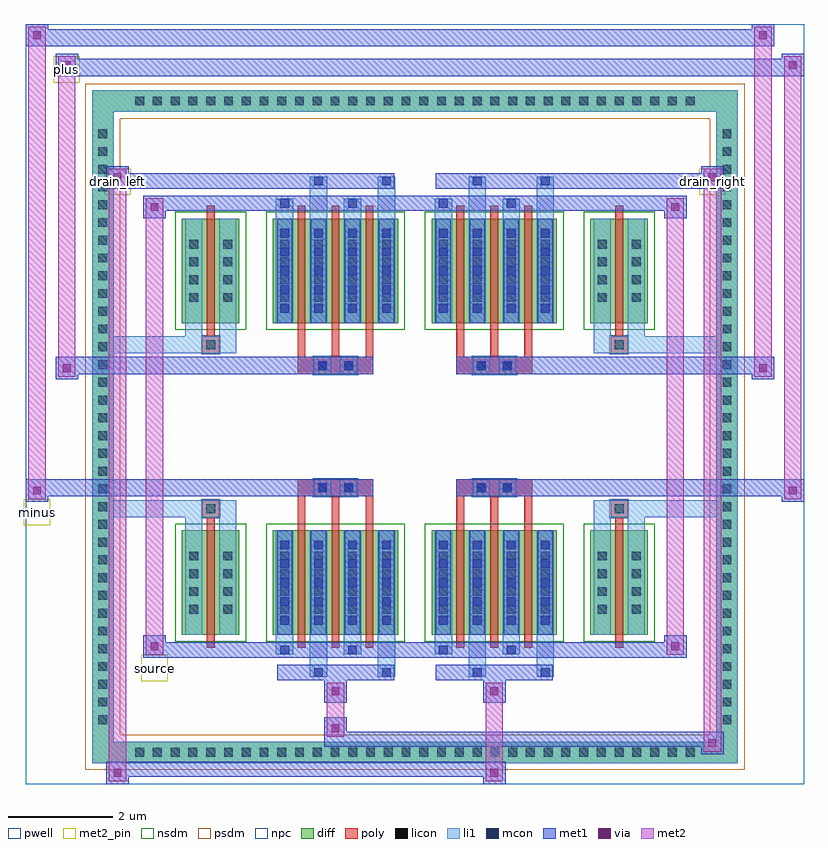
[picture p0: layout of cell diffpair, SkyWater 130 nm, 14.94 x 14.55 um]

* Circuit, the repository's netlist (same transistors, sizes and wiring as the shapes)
* NGSPICE file created from diffpair.ext - technology: sky130A

.subckt diffpair minus drain_right drain_left source plus
X0 drain_right minus source a_n1236_n1288# sky130_fd_pr__nfet_01v8 ad=0.95 pd=4.95 as=0.5 ps=2.5 w=2 l=0.15
X1 a_n1236_n1288# a_n1236_n1288# a_n1236_n1288# a_n1236_n1288# sky130_fd_pr__nfet_01v8 ad=0.95 pd=4.95 as=7.6 ps=39.6 w=2 l=0.15
X2 drain_left plus source a_n1236_n1288# sky130_fd_pr__nfet_01v8 ad=0.95 pd=4.95 as=0.5 ps=2.5 w=2 l=0.15
X3 a_n1236_n1288# a_n1236_n1288# a_n1236_n1288# a_n1236_n1288# sky130_fd_pr__nfet_01v8 ad=0.95 pd=4.95 as=0 ps=0 w=2 l=0.15
X4 source minus drain_right a_n1236_n1288# sky130_fd_pr__nfet_01v8 ad=0.5 pd=2.5 as=0.5 ps=2.5 w=2 l=0.15
X5 drain_right minus source a_n1236_n1288# sky130_fd_pr__nfet_01v8 ad=0.5 pd=2.5 as=0.95 ps=4.95 w=2 l=0.15
X6 a_n1236_n1288# a_n1236_n1288# a_n1236_n1288# a_n1236_n1288# sky130_fd_pr__nfet_01v8 ad=0.95 pd=4.95 as=0 ps=0 w=2 l=0.15
X7 drain_right minus source a_n1236_n1288# sky130_fd_pr__nfet_01v8 ad=0.5 pd=2.5 as=0.95 ps=4.95 w=2 l=0.15
X8 source minus drain_right a_n1236_n1288# sky130_fd_pr__nfet_01v8 ad=0.5 pd=2.5 as=0.5 ps=2.5 w=2 l=0.15
X9 source plus drain_left a_n1236_n1288# sky130_fd_pr__nfet_01v8 ad=0.5 pd=2.5 as=0.5 ps=2.5 w=2 l=0.15
X10 drain_left plus source a_n1236_n1288# sky130_fd_pr__nfet_01v8 ad=0.95 pd=4.95 as=0.5 ps=2.5 w=2 l=0.15
X11 drain_right minus source a_n1236_n1288# sky130_fd_pr__nfet_01v8 ad=0.95 pd=4.95 as=0.5 ps=2.5 w=2 l=0.15
X12 drain_left plus source a_n1236_n1288# sky130_fd_pr__nfet_01v8 ad=0.5 pd=2.5 as=0.95 ps=4.95 w=2 l=0.15
X13 drain_left plus source a_n1236_n1288# sky130_fd_pr__nfet_01v8 ad=0.5 pd=2.5 as=0.95 ps=4.95 w=2 l=0.15
X14 a_n1236_n1288# a_n1236_n1288# a_n1236_n1288# a_n1236_n1288# sky130_fd_pr__nfet_01v8 ad=0.95 pd=4.95 as=0 ps=0 w=2 l=0.15
X15 source plus drain_left a_n1236_n1288# sky130_fd_pr__nfet_01v8 ad=0.5 pd=2.5 as=0.5 ps=2.5 w=2 l=0.15
.ends

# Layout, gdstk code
import gdstk
lib = gdstk.Library(unit=1e-6, precision=5e-09)
def R(c, l, rs):  # rectangles x0, y0, x1, y1
    for r in rs: c.add(gdstk.rectangle(r[:2], r[2:], *l))
def A(c, l, x, y, w, h, nx, ny, dx, dy):  # array of equal rectangles
    R(c, l, [(x+i*dx, y+j*dy, x+i*dx+w, y+j*dy+h) for i in range(nx) for j in range(ny)])
def P(c, l, *ps):  # polygons
    for p in ps: c.add(gdstk.Polygon(p, *l))
pwell = (64, 44)
diff = (65, 20)
poly = (66, 20)
licon = (66, 44)
li1 = (67, 20)
mcon = (67, 44)
met1 = (68, 20)
via = (68, 44)
met2_pin = (69, 16)
met2 = (69, 20)
nsdm = (93, 44)
psdm = (94, 20)
npc = (95, 20)

diffpair = lib.new_cell('diffpair')
R(diffpair, pwell, [(-7.45,-6.84,7.45,7.71), (-4.77,-5.03,-0.01,-0.805), (0.01,-5.03,4.77,-0.805), (-4.77,0.805,-0.01,5.03), (0.01,0.805,4.77,5.03)])
A(diffpair, diff, -5.475, -6.44, 0.41, 0.41, 32, 2, 0.34, 12.47)
A(diffpair, diff, -6.18, -5.815, 0.41, 0.41, 1, 34, 0, 0.34)
A(diffpair, diff, 5.77, -5.815, 0.41, 0.41, 1, 34, 0, 0.34)
R(diffpair, diff, [(-5.475,-6.44,5.475,-6.03), (-6.18,-5.815,-5.77,5.815), (5.77,-5.815,6.18,5.815), (-4.46,-3.985,-3.36,-1.985), (-2.72,-3.985,-0.32,-1.985), (0.32,-3.985,2.72,-1.985), (3.36,-3.985,4.46,-1.985), (-4.46,1.985,-3.36,3.985), (-2.72,1.985,-0.32,3.985), (0.32,1.985,2.72,3.985), (3.36,1.985,4.46,3.985), (-5.475,6.03,5.475,6.44)])
P(diffpair, diff, [(6.18,6.44),(-6.18,6.44),(-6.18,-6.03),(-5.77,-6.03),(-5.77,6.03),(5.77,6.03),(5.77,-6.03),(-5.77,-6.03),(-6.18,-6.03),(-6.18,-6.44),(6.18,-6.44)])
A(diffpair, poly, -2.245, -4.235, 0.15, 2.5, 3, 2, 0.65, 5.97)
A(diffpair, poly, 0.795, -4.235, 0.15, 2.5, 3, 2, 0.65, 5.97)
A(diffpair, poly, -2.245, -1.735, 0.15, 0.4, 3, 2, 0.65, 3.07)
A(diffpair, poly, 0.795, -1.735, 0.15, 0.4, 3, 2, 0.65, 3.07)
R(diffpair, poly, [(-3.985,-4.235,-3.835,-1.735), (3.835,-4.235,3.985,-1.735), (-4.075,-1.735,-3.745,-1.405), (-4.075,-1.735,-3.745,-1.405), (3.745,-1.735,4.075,-1.405), (3.745,-1.735,4.075,-1.405), (-2.245,-1.335,-0.795,-1.005), (-1.935,-1.335,-1.605,-1.005), (-1.435,-1.335,-1.105,-1.005), (0.795,-1.335,2.245,-1.005), (1.105,-1.335,1.435,-1.005), (1.605,-1.335,1.935,-1.005), (-2.245,1.005,-0.795,1.335), (-1.935,1.005,-1.605,1.335), (-1.435,1.005,-1.105,1.335), (0.795,1.005,2.245,1.335), (1.105,1.005,1.435,1.335), (1.605,1.005,1.935,1.335), (-4.075,1.405,-3.745,1.735), (-4.075,1.405,-3.745,1.735), (3.745,1.405,4.075,1.735), (3.745,1.405,4.075,1.735), (-3.985,1.735,-3.835,4.235), (3.835,1.735,3.985,4.235)])
A(diffpair, licon, -5.355, -6.32, 0.17, 0.17, 32, 2, 0.34, 12.47)
A(diffpair, licon, -6.06, -5.695, 0.17, 0.17, 1, 34, 0, 0.34)
A(diffpair, licon, 5.89, -5.695, 0.17, 0.17, 1, 34, 0, 0.34)
A(diffpair, licon, -4.32, -3.58, 0.17, 0.17, 1, 4, 0, 0.34)
A(diffpair, licon, -3.67, -3.58, 0.17, 0.17, 1, 4, 0, 0.34)
A(diffpair, licon, -2.58, -3.58, 0.17, 0.17, 4, 4, 0.65, 0.34)
A(diffpair, licon, 0.46, -3.58, 0.17, 0.17, 4, 4, 0.65, 0.34)
A(diffpair, licon, 3.5, -3.58, 0.17, 0.17, 1, 4, 0, 0.34)
A(diffpair, licon, 4.15, -3.58, 0.17, 0.17, 1, 4, 0, 0.34)
A(diffpair, licon, -4.32, 2.39, 0.17, 0.17, 1, 4, 0, 0.34)
A(diffpair, licon, -3.67, 2.39, 0.17, 0.17, 1, 4, 0, 0.34)
A(diffpair, licon, -2.58, 2.39, 0.17, 0.17, 4, 4, 0.65, 0.34)
A(diffpair, licon, 0.46, 2.39, 0.17, 0.17, 4, 4, 0.65, 0.34)
A(diffpair, licon, 3.5, 2.39, 0.17, 0.17, 1, 4, 0, 0.34)
A(diffpair, licon, 4.15, 2.39, 0.17, 0.17, 1, 4, 0, 0.34)
R(diffpair, licon, [(-3.995,-1.655,-3.825,-1.485), (3.825,-1.655,3.995,-1.485), (-1.855,-1.255,-1.685,-1.085), (-1.355,-1.255,-1.185,-1.085), (1.185,-1.255,1.355,-1.085), (1.685,-1.255,1.855,-1.085), (-1.855,1.085,-1.685,1.255), (-1.355,1.085,-1.185,1.255), (1.185,1.085,1.355,1.255), (1.685,1.085,1.855,1.255), (-3.995,1.485,-3.825,1.655), (3.825,1.485,3.995,1.655)])
A(diffpair, li1, -5.435, -6.4, 0.33, 0.33, 32, 2, 0.34, 12.47)
A(diffpair, li1, -6.14, -5.775, 0.33, 0.33, 1, 34, 0, 0.34)
A(diffpair, li1, 5.81, -5.775, 0.33, 0.33, 1, 34, 0, 0.34)
A(diffpair, li1, -2.66, -3.985, 0.33, 2, 4, 2, 0.65, 5.97)
A(diffpair, li1, 0.38, -3.985, 0.33, 2, 4, 2, 0.65, 5.97)
A(diffpair, li1, -2.58, -3.79, 0.17, 0.17, 4, 5, 0.65, 0.36)
A(diffpair, li1, -2.58, -3.79, 0.17, 1.61, 4, 2, 0.65, 5.97)
A(diffpair, li1, 0.46, -3.79, 0.17, 0.17, 4, 5, 0.65, 0.36)
A(diffpair, li1, 0.46, -3.79, 0.17, 1.61, 4, 2, 0.65, 5.97)
A(diffpair, li1, -4.4, -3.66, 0.33, 0.33, 1, 4, 0, 0.34)
A(diffpair, li1, -3.75, -3.66, 0.33, 0.33, 1, 4, 0, 0.34)
A(diffpair, li1, -2.66, -3.66, 0.33, 0.33, 4, 4, 0.65, 0.34)
A(diffpair, li1, 0.38, -3.66, 0.33, 0.33, 4, 4, 0.65, 0.34)
A(diffpair, li1, 3.42, -3.66, 0.33, 0.33, 1, 4, 0, 0.34)
A(diffpair, li1, 4.07, -3.66, 0.33, 0.33, 1, 4, 0, 0.34)
A(diffpair, li1, -2.58, 2.18, 0.17, 0.17, 4, 5, 0.65, 0.36)
A(diffpair, li1, 0.46, 2.18, 0.17, 0.17, 4, 5, 0.65, 0.36)
A(diffpair, li1, -4.4, 2.31, 0.33, 0.33, 1, 4, 0, 0.34)
A(diffpair, li1, -3.75, 2.31, 0.33, 0.33, 1, 4, 0, 0.34)
A(diffpair, li1, -2.66, 2.31, 0.33, 0.33, 4, 4, 0.65, 0.34)
A(diffpair, li1, 0.38, 2.31, 0.33, 0.33, 4, 4, 0.65, 0.34)
A(diffpair, li1, 3.42, 2.31, 0.33, 0.33, 1, 4, 0, 0.34)
A(diffpair, li1, 4.07, 2.31, 0.33, 0.33, 1, 4, 0, 0.34)
R(diffpair, li1, [(-6.18,-6.44,-5.77,-6.03), (-6.18,-6.44,-5.77,-6.03), (-5.77,-6.44,5.77,-6.03), (5.77,-6.44,6.18,-6.03), (5.77,-6.44,6.18,-6.03), (-6.18,-6.03,-5.77,6.03), (5.77,-6.03,6.18,6.03), (-2.01,-4.79,-1.68,-3.985), (-1.93,-4.79,-1.76,-4.62), (-0.71,-4.79,-0.38,-3.985), (-0.63,-4.79,-0.46,-4.62), (1.03,-4.79,1.36,-3.985), (1.11,-4.79,1.28,-4.62), (2.33,-4.79,2.66,-3.985), (2.41,-4.79,2.58,-4.62), (-2.66,-4.36,-2.33,-3.985), (-2.58,-4.36,-2.41,-4.19), (-1.36,-4.36,-1.03,-3.985), (-1.28,-4.36,-1.11,-4.19), (0.38,-4.36,0.71,-3.985), (0.46,-4.36,0.63,-4.19), (1.68,-4.36,2.01,-3.985), (1.76,-4.36,1.93,-4.19), (-4.4,-3.985,-4.07,-1.985), (-3.75,-3.985,-3.42,-1.985), (3.42,-3.985,3.75,-1.985), (4.07,-3.985,4.4,-1.985), (-4.4,-1.985,-4.07,-1.405), (-3.75,-1.985,-3.42,-1.405), (3.42,-1.985,3.75,-1.405), (4.07,-1.985,4.4,-1.405), (-6.18,-1.735,-4.075,-1.405), (-4.4,-1.735,-4.075,-1.405), (-4.075,-1.735,-3.745,-1.405), (-3.745,-1.735,-3.42,-1.405), (3.42,-1.735,3.745,-1.405), (3.745,-1.735,4.075,-1.405), (3.745,-1.735,6.18,-1.405), (4.075,-1.735,4.4,-1.405), (-1.935,-1.335,-1.605,-1.005), (-1.435,-1.335,-1.105,-1.005), (1.105,-1.335,1.435,-1.005), (1.605,-1.335,1.935,-1.005), (-1.935,1.005,-1.605,1.335), (-1.435,1.005,-1.105,1.335), (1.105,1.005,1.435,1.335), (1.605,1.005,1.935,1.335), (-6.18,1.405,-4.075,1.735), (-4.4,1.405,-4.075,1.735), (-4.4,1.405,-4.07,1.985), (-4.075,1.405,-3.745,1.735), (-3.75,1.405,-3.42,1.985), (-3.745,1.405,-3.42,1.735), (3.42,1.405,3.745,1.735), (3.42,1.405,3.75,1.985), (3.745,1.405,4.075,1.735), (3.745,1.405,6.18,1.735), (4.07,1.405,4.4,1.985), (4.075,1.405,4.4,1.735), (-4.4,1.985,-4.07,3.985), (-3.75,1.985,-3.42,3.985), (3.42,1.985,3.75,3.985), (4.07,1.985,4.4,3.985), (-2.66,3.985,-2.33,4.36), (-2.01,3.985,-1.68,4.79), (-1.36,3.985,-1.03,4.36), (-0.71,3.985,-0.38,4.79), (0.38,3.985,0.71,4.36), (1.03,3.985,1.36,4.79), (1.68,3.985,2.01,4.36), (2.33,3.985,2.66,4.79), (-2.58,4.19,-2.41,4.36), (-1.28,4.19,-1.11,4.36), (0.46,4.19,0.63,4.36), (1.76,4.19,1.93,4.36), (-1.93,4.62,-1.76,4.79), (-0.63,4.62,-0.46,4.79), (1.11,4.62,1.28,4.79), (2.41,4.62,2.58,4.79), (-6.18,6.03,-5.77,6.44), (-6.18,6.03,-5.77,6.44), (-5.77,6.03,5.77,6.44), (5.77,6.03,6.18,6.44), (5.77,6.03,6.18,6.44)])
A(diffpair, mcon, -2.58, -3.79, 0.17, 0.17, 4, 5, 0.65, 0.36)
A(diffpair, mcon, 0.46, -3.79, 0.17, 0.17, 4, 5, 0.65, 0.36)
A(diffpair, mcon, -2.58, 2.18, 0.17, 0.17, 4, 5, 0.65, 0.36)
A(diffpair, mcon, 0.46, 2.18, 0.17, 0.17, 4, 5, 0.65, 0.36)
R(diffpair, mcon, [(-1.93,-4.79,-1.76,-4.62), (-0.63,-4.79,-0.46,-4.62), (1.11,-4.79,1.28,-4.62), (2.41,-4.79,2.58,-4.62), (-2.58,-4.36,-2.41,-4.19), (-1.28,-4.36,-1.11,-4.19), (0.46,-4.36,0.63,-4.19), (1.76,-4.36,1.93,-4.19), (-1.855,-1.255,-1.685,-1.085), (-1.355,-1.255,-1.185,-1.085), (1.185,-1.255,1.355,-1.085), (1.685,-1.255,1.855,-1.085), (-1.855,1.085,-1.685,1.255), (-1.355,1.085,-1.185,1.255), (1.185,1.085,1.355,1.255), (1.685,1.085,1.855,1.255), (-2.58,4.19,-2.41,4.36), (-1.28,4.19,-1.11,4.36), (0.46,4.19,0.63,4.36), (1.76,4.19,1.93,4.36), (-1.93,4.62,-1.76,4.79), (-0.63,4.62,-0.46,4.79), (1.11,4.62,1.28,4.79), (2.41,4.62,2.58,4.79)])
A(diffpair, met1, -2.64, -3.985, 0.29, 2, 4, 2, 0.65, 5.97)
A(diffpair, met1, 0.4, -3.985, 0.29, 2, 4, 2, 0.65, 5.97)
A(diffpair, met1, -2.64, -3.85, 0.29, 0.29, 4, 5, 0.65, 0.36)
A(diffpair, met1, 0.4, -3.85, 0.29, 0.29, 4, 5, 0.65, 0.36)
A(diffpair, met1, -2.64, 2.12, 0.29, 0.29, 4, 5, 0.65, 0.36)
A(diffpair, met1, 0.4, 2.12, 0.29, 0.29, 4, 5, 0.65, 0.36)
R(diffpair, met1, [(-5.91,-6.84,-5.48,-6.41), (1.305,-6.84,1.735,-6.41), (-5.91,-6.7,1.735,-6.41), (5.48,-6.27,5.91,-5.84), (-1.735,-6.13,5.91,-5.84), (-1.735,-5.99,-1.305,-5.56), (-1.735,-5.28,-1.305,-4.85), (1.305,-5.28,1.735,-4.85), (-2.64,-4.85,-0.4,-4.56), (-1.99,-4.85,-1.7,-4.56), (-0.69,-4.85,-0.4,-4.56), (0.4,-4.85,2.64,-4.56), (1.05,-4.85,1.34,-4.56), (2.35,-4.85,2.64,-4.56), (-5.2,-4.42,-4.77,-3.99), (-5.2,-4.42,-2.64,-4.13), (-2.64,-4.42,-2.35,-4.13), (-2.64,-4.42,-0.4,-4.13), (-1.34,-4.42,-1.05,-4.13), (-0.4,-4.42,0.4,-4.13), (0.4,-4.42,0.69,-4.13), (0.4,-4.42,2.64,-4.13), (1.7,-4.42,1.99,-4.13), (2.64,-4.42,5.2,-4.13), (4.77,-4.42,5.2,-3.99), (-7.45,-1.435,-7.02,-1.005), (7.02,-1.435,7.45,-1.005), (-7.45,-1.335,-0.795,-1.005), (-2.245,-1.335,-0.795,-1.005), (0.795,-1.335,2.245,-1.005), (0.795,-1.335,7.45,-1.005), (-1.915,-1.315,-1.625,-1.025), (-1.415,-1.315,-1.125,-1.025), (1.125,-1.315,1.415,-1.025), (1.625,-1.315,1.915,-1.025), (-6.88,0.905,-6.45,1.335), (6.45,0.905,6.88,1.335), (-6.88,1.005,-2.245,1.335), (-2.245,1.005,-0.795,1.335), (0.795,1.005,2.245,1.335), (2.245,1.005,6.88,1.335), (-1.915,1.025,-1.625,1.315), (-1.415,1.025,-1.125,1.315), (1.125,1.025,1.415,1.315), (1.625,1.025,1.915,1.315), (-5.2,3.99,-4.77,4.42), (4.77,3.99,5.2,4.42), (-5.2,4.13,-2.64,4.42), (-2.64,4.13,-2.35,4.42), (-2.64,4.13,-0.4,4.42), (-1.34,4.13,-1.05,4.42), (-0.4,4.13,0.4,4.42), (0.4,4.13,0.69,4.42), (0.4,4.13,2.64,4.42), (1.7,4.13,1.99,4.42), (2.64,4.13,5.2,4.42), (-5.91,4.56,-5.48,4.99), (-5.91,4.56,-2.64,4.85), (-2.64,4.56,-0.4,4.85), (-1.99,4.56,-1.7,4.85), (-0.69,4.56,-0.4,4.85), (0.4,4.56,2.64,4.85), (1.05,4.56,1.34,4.85), (2.35,4.56,2.64,4.85), (2.64,4.56,5.91,4.85), (5.48,4.56,5.91,4.99), (-6.88,6.71,-6.45,7.14), (-6.88,6.71,-4.77,7.04), (-4.77,6.71,4.77,7.04), (4.77,6.71,7.45,7.04), (7.02,6.71,7.45,7.14), (-7.45,7.28,-7.02,7.71), (-7.45,7.28,-4.77,7.61), (-4.77,7.28,4.77,7.61), (4.77,7.28,6.88,7.61), (6.45,7.28,6.88,7.71)])
R(diffpair, via, [(-5.77,-6.7,-5.62,-6.55), (1.445,-6.7,1.595,-6.55), (5.62,-6.13,5.77,-5.98), (-1.595,-5.85,-1.445,-5.7), (-1.595,-5.14,-1.445,-4.99), (1.445,-5.14,1.595,-4.99), (-5.06,-4.28,-4.91,-4.13), (4.91,-4.28,5.06,-4.13), (-7.31,-1.295,-7.16,-1.145), (7.16,-1.295,7.31,-1.145), (-6.74,1.045,-6.59,1.195), (6.59,1.045,6.74,1.195), (-5.06,4.13,-4.91,4.28), (4.91,4.13,5.06,4.28), (-5.77,4.7,-5.62,4.85), (5.62,4.7,5.77,4.85), (-6.74,6.85,-6.59,7), (7.16,6.85,7.31,7), (-7.31,7.42,-7.16,7.57), (6.59,7.42,6.74,7.57)])
R(diffpair, met2_pin, [(-5.235,-4.87,-4.735,-4.37), (-7.485,-1.885,-6.985,-1.385), (-5.945,4.44,-5.445,4.94), (5.445,4.44,5.945,4.94), (-6.915,6.59,-6.415,7.09)])
R(diffpair, met2, [(-5.86,-6.79,-5.53,-6.46), (-5.86,-6.79,-5.53,4.94), (1.355,-6.79,1.685,-6.46), (1.355,-6.46,1.685,-5.23), (5.53,-6.22,5.86,-5.89), (5.53,-6.22,5.86,4.94), (-1.685,-5.94,-1.355,-5.61), (-1.685,-5.61,-1.355,-5.23), (-1.685,-5.23,-1.355,-4.9), (1.355,-5.23,1.685,-4.9), (-5.15,-4.37,-4.82,-4.04), (-5.15,-4.37,-4.82,4.37), (4.82,-4.37,5.15,-4.04), (4.82,-4.37,5.15,4.37), (-7.4,-1.385,-7.07,-1.055), (-7.4,-1.385,-7.07,7.66), (7.07,-1.385,7.4,-1.055), (7.07,-1.385,7.4,7.09), (-6.83,0.955,-6.5,1.285), (-6.83,0.955,-6.5,7.09), (6.5,0.955,6.83,1.285), (6.5,0.955,6.83,7.66), (-5.15,4.04,-4.82,4.37), (4.82,4.04,5.15,4.37), (-5.86,4.61,-5.53,4.94), (5.53,4.61,5.86,4.94), (-6.83,6.76,-6.5,7.09), (7.07,6.76,7.4,7.09), (-7.4,7.33,-7.07,7.66), (6.5,7.33,6.83,7.66)])
P(diffpair, met2, [(7.4,-1.385),(7.4,-1.385),(7.4,-1.055),(7.4,-1.055)],
  [(7.4,6.76),(7.4,6.76),(7.4,7.09),(7.4,7.09)],
  [(-7.07,-1.385),(-7.07,-1.385),(-7.07,-1.055),(-7.07,-1.055)],
  [(-7.07,7.33),(-7.07,7.33),(-7.07,7.66),(-7.07,7.66)],
  [(6.83,0.955),(6.83,0.955),(6.83,1.285),(6.83,1.285)],
  [(6.83,7.33),(6.83,7.33),(6.83,7.66),(6.83,7.66)],
  [(-6.5,0.955),(-6.5,0.955),(-6.5,1.285),(-6.5,1.285)],
  [(-6.5,6.76),(-6.5,6.76),(-6.5,7.09),(-6.5,7.09)],
  [(-5.53,-6.79),(-5.53,-6.79),(-5.53,-6.46),(-5.53,-6.46)],
  [(-5.53,4.61),(-5.53,4.61),(-5.53,4.94),(-5.53,4.94)],
  [(5.86,-6.22),(5.86,-6.22),(5.86,-5.89),(5.86,-5.89)],
  [(5.86,4.61),(5.86,4.61),(5.86,4.94),(5.86,4.94)],
  [(-4.82,-4.37),(-4.82,-4.37),(-4.82,-4.04),(-4.82,-4.04)],
  [(-4.82,4.04),(-4.82,4.04),(-4.82,4.37),(-4.82,4.37)],
  [(5.15,-4.37),(5.15,-4.37),(5.15,-4.04),(5.15,-4.04)],
  [(5.15,4.04),(5.15,4.04),(5.15,4.37),(5.15,4.37)])
R(diffpair, nsdm, [(-4.59,-4.115,-3.23,-1.855), (-2.85,-4.115,-0.19,-1.855), (0.19,-4.115,2.85,-1.855), (3.23,-4.115,4.59,-1.855), (-4.59,1.855,-3.23,4.115), (-2.85,1.855,-0.19,4.115), (0.19,1.855,2.85,4.115), (3.23,1.855,4.59,4.115)])
P(diffpair, psdm, [(6.31,6.57),(-6.31,6.57),(-6.31,-5.9),(-5.64,-5.9),(-5.64,5.9),(5.64,5.9),(5.64,-5.9),(-5.64,-5.9),(-6.31,-5.9),(-6.31,-6.57),(6.31,-6.57)])
R(diffpair, npc, [(-4.095,-1.755,-3.725,-1.385), (3.725,-1.755,4.095,-1.385), (-1.955,-1.355,-1.585,-0.985), (-1.955,-1.355,-1.085,-0.985), (-1.955,-1.355,-1.085,-0.985), (-1.455,-1.355,-1.085,-0.985), (1.085,-1.355,1.455,-0.985), (1.085,-1.355,1.955,-0.985), (1.085,-1.355,1.955,-0.985), (1.585,-1.355,1.955,-0.985), (-1.955,0.985,-1.585,1.355), (-1.955,0.985,-1.085,1.355), (-1.955,0.985,-1.085,1.355), (-1.455,0.985,-1.085,1.355), (1.085,0.985,1.455,1.355), (1.085,0.985,1.955,1.355), (1.085,0.985,1.955,1.355), (1.585,0.985,1.955,1.355), (-4.095,1.385,-3.725,1.755), (3.725,1.385,4.095,1.755)])
diffpair.add(gdstk.Label('minus', (-7.235,-1.635), layer=69, texttype=5))
diffpair.add(gdstk.Label('drain_right', (5.695,4.69), layer=69, texttype=5))
diffpair.add(gdstk.Label('drain_left', (-5.695,4.69), layer=69, texttype=5))
diffpair.add(gdstk.Label('source', (-4.985,-4.62), layer=69, texttype=5))
diffpair.add(gdstk.Label('plus', (-6.665,6.84), layer=69, texttype=5))

lib.write_gds('diffpair.gds')
